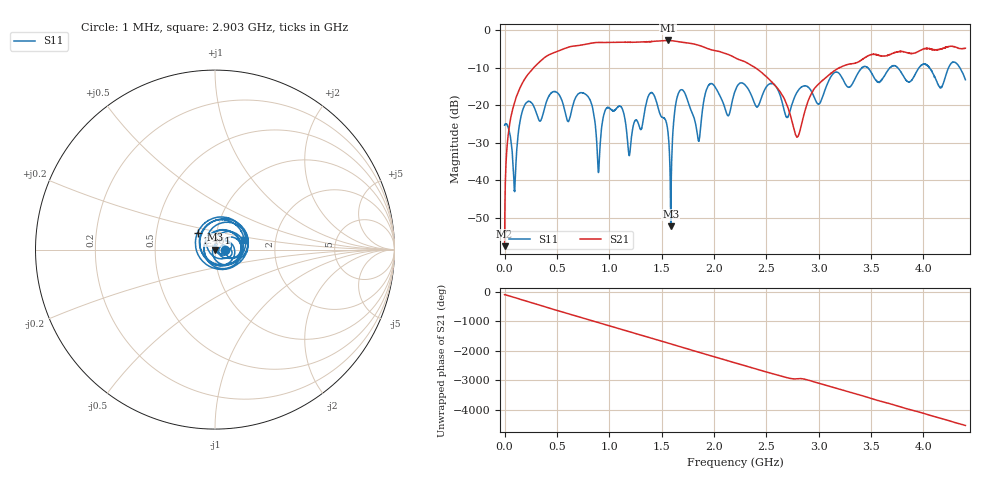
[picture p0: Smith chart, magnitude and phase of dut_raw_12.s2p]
!Created with skrf (http://scikit-rf.org).
# Hz S RI R 50.0
!freq ReS11 ImS11 ReS21 ImS21 ReS12 ImS12 ReS22 ImS22
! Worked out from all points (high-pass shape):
!   4400 points, 1 MHz to 4.4 GHz, reference 50 ohm
!   highest |S21| = -2.77 dB at 1.56 GHz (marker M1); lowest = -57.6 dB at 1 MHz (marker M2)
!   |S21| within 3 dB of the highest: 496.9 MHz to 2.058 GHz (1.561 GHz wide, 122 % of centre); 3.946 GHz to end of sweep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
!   lowest |S11| = -52.3 dB at 1.587 GHz (marker M3), VSWR 1.00, Z = 50.2 + j0.0145 ohm
!   |S11| at or under -10 dB: start of sweep to 3.414 GHz; 3.466 GHz to 3.682 GHz (215.2 MHz wide, 6.02 % of centre); 3.752 GHz to 3.958 GHz (206.8 MHz wide, 5.36 % of centre)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
!   S12 and S22 are empty: the file has one direction only
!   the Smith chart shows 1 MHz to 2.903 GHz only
!   S11 on the Smith chart (normalised r, x): 1 MHz: 1.11, +0.00; 2.461 GHz: 0.81, +0.16; 2.903 GHz: 1.38, +0.16
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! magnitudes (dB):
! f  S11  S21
! 1 MHz  -25.3  -57.6
! 34 MHz  -25.9  -28.2
! 94 MHz  -42.9  -19.4
! 147 MHz  -24.6  -15.5
! 735 MHz  -16.7  -4.0
! 898 MHz  -37.8  -3.3
! 979 MHz  -20.7  -3.3
! 1.192 GHz  -33.5  -3.3
! 1.386 GHz  -16.9  -3.1
! 1.468 GHz  -20.9  -2.9
! 1.56 GHz  -27.1  -2.8
! 1.587 GHz  -52.3  -2.8
! 1.676 GHz  -16.1  -3.2
! 1.851 GHz  -29.4  -4.0
! 1.953 GHz  -14.5  -5.1
! 2.201 GHz  -16.2  -7.4
! 2.461 GHz  -17.4  -11.5
! 2.791 GHz  -16.6  -28.5
! 2.903 GHz  -15.3  -18.6
! 2.934 GHz  -16.5  -16.7
! 3.667 GHz  -10.5  -6.6
! 4.4 GHz  -13.2  -4.8
